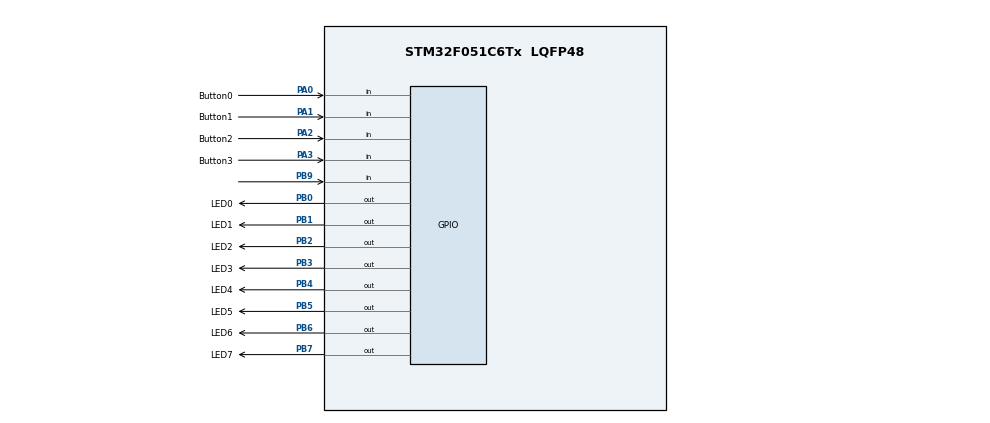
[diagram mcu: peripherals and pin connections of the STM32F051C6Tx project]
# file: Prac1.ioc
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Mcu.Family=STM32F0
Mcu.Name=STM32F051C6Tx
Mcu.Package=LQFP48
PA0.GPIO_Label=Button0
PA0.GPIO_PuPd=GPIO_PULLUP
PA0.Signal=GPIO_Input
PA1.GPIO_Label=Button1
PA1.GPIO_PuPd=GPIO_PULLUP
PA1.Signal=GPIO_Input
PA13.Mode=Serial_Wire
PA13.Signal=SYS_SWDIO
PA14.Mode=Serial_Wire
PA14.Signal=SYS_SWCLK
PA2.GPIO_Label=Button2
PA2.GPIO_PuPd=GPIO_PULLUP
PA2.Signal=GPIO_Input
PA3.GPIO_Label=Button3
PA3.GPIO_PuPd=GPIO_PULLUP
PA3.Signal=GPIO_Input
PB0.GPIO_Label=LED0
PB0.Signal=GPIO_Output
PB1.GPIO_Label=LED1
PB1.Signal=GPIO_Output
PB2.GPIO_Label=LED2
PB2.Signal=GPIO_Output
PB3.GPIO_Label=LED3
PB3.Signal=GPIO_Output
PB4.GPIO_Label=LED4
PB4.Signal=GPIO_Output
PB5.GPIO_Label=LED5
PB5.Signal=GPIO_Output
PB6.GPIO_Label=LED6
PB6.Signal=GPIO_Output
PB7.GPIO_Label=LED7
PB7.Signal=GPIO_Output
PB9.Signal=GPIO_Input
PF0-OSC_IN.Mode=HSE-External-Oscillator
PF0-OSC_IN.Signal=RCC_OSC_IN
PF1-OSC_OUT.Mode=HSE-External-Oscillator
PF1-OSC_OUT.Signal=RCC_OSC_OUT
ProjectManager.HeapSize=0x200
ProjectManager.StackSize=0x400
ProjectManager.TargetToolchain=STM32CubeIDE
TIM16.AutoReloadPreload=TIM_AUTORELOAD_PRELOAD_ENABLE
TIM16.Period=1000-1
TIM16.Prescaler=8000-1
VP_TIM16_VS_ClockSourceINT.Mode=Enable_Timer
board=custom

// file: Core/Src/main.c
/* USER CODE BEGIN Header */
/**
  ******************************************************************************
  * @file           : main.c
  * @brief          : Main program body
  * @authors		    : Chris Scheepers, Abdul-Mateen Kader
  ******************************************************************************
  * @attention
  *
  * Copyright (c) 2023 STMicroelectronics.
  * All rights reserved.
  *
  * This software is licensed under terms that can be found in the LICENSE file
  * in the root directory of this software component.
  * If no LICENSE file comes with this software, it is provided AS-IS.
  *
  ******************************************************************************
  */
/* USER CODE END Header */
#include "main.h"

/* USER CODE BEGIN Includes */
#include <stdint.h>
#include "stm32f0xx.h"
#include <stm32f051x8.h>
#include <lcd_stm32f0.c>
/* USER CODE END Includes */

TIM_HandleTypeDef htim16;

/* USER CODE BEGIN PV */
// TODO: Define input variables
#define SW0 GPIO_PIN_0
#define SW1 GPIO_PIN_1
#define SW2 GPIO_PIN_2
#define SW3 GPIO_PIN_3

// Define the LED patterns
uint8_t patterns[9] = {
    0xE9, // 11101001
    0xD2, // 11010010
    0xA4, // 10100100
    0x48, // 01001000
    0x90, // 10010000
    0x20, // 00100000
    0x40, // 01000000
    0x80, // 10000000
    0x00  // 00000000 (blank row)
};

// Global variables to keep track of the current pattern and delay
uint8_t currentPattern = 0;
char currentPatternChar[11] = "123456789";
uint32_t tdelay = 1000; // Default delay is 1 second

/* USER CODE END PV */

void SystemClock_Config(void);
static void MX_GPIO_Init(void);
static void MX_TIM16_Init(void);
/* USER CODE BEGIN PFP */
void TIM16_IRQHandler(void);
/* USER CODE END PFP */

int main(void)
{

  /* MCU Configuration--------------------------------------------------------*/

  /* Reset of all peripherals, Initializes the Flash interface and the Systick. */
  HAL_Init();

  /* Configure the system clock */
  SystemClock_Config();

  /* Initialize all configured peripherals */
  MX_GPIO_Init();
  MX_TIM16_Init();
  init_LCD();
  lcd_command(CLEAR);
  lcd_putstring("Delay is 1s");
  /* USER CODE BEGIN 2 */

  // TODO: Start timer TIM16
  HAL_TIM_Base_Start_IT(&htim16);
  /* USER CODE END 2 */

  /* Infinite loop */
  while (1)
  {

    /* USER CODE BEGIN 3 */

    // TODO: Check pushbuttons to change timer delay
    // Check push button states
    if (HAL_GPIO_ReadPin(GPIOA, SW0) == GPIO_PIN_RESET)
    {
      tdelay = 500; // 0.5 seconds
      lcd_command(CLEAR);
      lcd_putstring("Delay: 0.5s");
    }
    else if (HAL_GPIO_ReadPin(GPIOA, SW1) == GPIO_PIN_RESET)
    {
      tdelay = 2000; // 2 seconds
      lcd_command(CLEAR);
      lcd_putstring("Delay: 2s");
    }
    else if (HAL_GPIO_ReadPin(GPIOA, SW2) == GPIO_PIN_RESET)
    {
      tdelay = 1000; // 1 second
      lcd_command(CLEAR);
      lcd_putstring("Delay: 1s");
    }
    else if (HAL_GPIO_ReadPin(GPIOA, SW3) == GPIO_PIN_RESET)
    {
      currentPattern = 0; // Reset to pattern 1
    }
  }
}
/* USER CODE END 3 */

void SystemClock_Config(void)
{
  LL_FLASH_SetLatency(LL_FLASH_LATENCY_0);
  while (LL_FLASH_GetLatency() != LL_FLASH_LATENCY_0)
  {
  }
  LL_RCC_HSI_Enable();

  /* Wait till HSI is ready */
  while (LL_RCC_HSI_IsReady() != 1)
  {
  }
  LL_RCC_HSI_SetCalibTrimming(16);
  LL_RCC_SetAHBPrescaler(LL_RCC_SYSCLK_DIV_1);
  LL_RCC_SetAPB1Prescaler(LL_RCC_APB1_DIV_1);
  LL_RCC_SetSysClkSource(LL_RCC_SYS_CLKSOURCE_HSI);

  /* Wait till System clock is ready */
  while (LL_RCC_GetSysClkSource() != LL_RCC_SYS_CLKSOURCE_STATUS_HSI)
  {
  }
  LL_SetSystemCoreClock(8000000);

  /* Update the time base */
  if (HAL_InitTick(TICK_INT_PRIORITY) != HAL_OK)
  {
    Error_Handler();
  }
}

static void MX_TIM16_Init(void)
{

  htim16.Instance = TIM16;
  htim16.Init.Prescaler = 8000 - 1;
  htim16.Init.CounterMode = TIM_COUNTERMODE_UP;
  htim16.Init.Period = 1000 - 1;
  htim16.Init.ClockDivision = TIM_CLOCKDIVISION_DIV1;
  htim16.Init.RepetitionCounter = 0;
  htim16.Init.AutoReloadPreload = TIM_AUTORELOAD_PRELOAD_ENABLE;
  if (HAL_TIM_Base_Init(&htim16) != HAL_OK)
  {
    Error_Handler();
  }
  /* USER CODE BEGIN TIM16_Init 2 */
  NVIC_EnableIRQ(TIM16_IRQn);
  /* USER CODE END TIM16_Init 2 */
}

static void MX_GPIO_Init(void)
{
  LL_GPIO_InitTypeDef GPIO_InitStruct = {0};

  /* GPIO Ports Clock Enable */
  LL_AHB1_GRP1_EnableClock(LL_AHB1_GRP1_PERIPH_GPIOF);
  LL_AHB1_GRP1_EnableClock(LL_AHB1_GRP1_PERIPH_GPIOA);
  LL_AHB1_GRP1_EnableClock(LL_AHB1_GRP1_PERIPH_GPIOB);

  /**/
  LL_GPIO_ResetOutputPin(LED0_GPIO_Port, LED0_Pin);

  /**/
  LL_GPIO_ResetOutputPin(LED1_GPIO_Port, LED1_Pin);

  /**/
  LL_GPIO_ResetOutputPin(LED2_GPIO_Port, LED2_Pin);

  /**/
  LL_GPIO_ResetOutputPin(LED3_GPIO_Port, LED3_Pin);

  /**/
  LL_GPIO_ResetOutputPin(LED4_GPIO_Port, LED4_Pin);

  /**/
  LL_GPIO_ResetOutputPin(LED5_GPIO_Port, LED5_Pin);

  /**/
  LL_GPIO_ResetOutputPin(LED6_GPIO_Port, LED6_Pin);

  /**/
  LL_GPIO_ResetOutputPin(LED7_GPIO_Port, LED7_Pin);

  /**/
  GPIO_InitStruct.Pin = Button0_Pin;
  GPIO_InitStruct.Mode = LL_GPIO_MODE_INPUT;
  GPIO_InitStruct.Pull = LL_GPIO_PULL_UP;
  LL_GPIO_Init(Button0_GPIO_Port, &GPIO_InitStruct);

  /**/
  GPIO_InitStruct.Pin = Button1_Pin;
  GPIO_InitStruct.Mode = LL_GPIO_MODE_INPUT;
  GPIO_InitStruct.Pull = LL_GPIO_PULL_UP;
  LL_GPIO_Init(Button1_GPIO_Port, &GPIO_InitStruct);

  /**/
  GPIO_InitStruct.Pin = Button2_Pin;
  GPIO_InitStruct.Mode = LL_GPIO_MODE_INPUT;
  GPIO_InitStruct.Pull = LL_GPIO_PULL_UP;
  LL_GPIO_Init(Button2_GPIO_Port, &GPIO_InitStruct);

  /**/
  GPIO_InitStruct.Pin = Button3_Pin;
  GPIO_InitStruct.Mode = LL_GPIO_MODE_INPUT;
  GPIO_InitStruct.Pull = LL_GPIO_PULL_UP;
  LL_GPIO_Init(Button3_GPIO_Port, &GPIO_InitStruct);

  /**/
  GPIO_InitStruct.Pin = LED0_Pin;
  GPIO_InitStruct.Mode = LL_GPIO_MODE_OUTPUT;
  GPIO_InitStruct.Speed = LL_GPIO_SPEED_FREQ_LOW;
  GPIO_InitStruct.OutputType = LL_GPIO_OUTPUT_PUSHPULL;
  GPIO_InitStruct.Pull = LL_GPIO_PULL_NO;
  LL_GPIO_Init(LED0_GPIO_Port, &GPIO_InitStruct);

  /**/
  GPIO_InitStruct.Pin = LED1_Pin;
  GPIO_InitStruct.Mode = LL_GPIO_MODE_OUTPUT;
  GPIO_InitStruct.Speed = LL_GPIO_SPEED_FREQ_LOW;
  GPIO_InitStruct.OutputType = LL_GPIO_OUTPUT_PUSHPULL;
  GPIO_InitStruct.Pull = LL_GPIO_PULL_NO;
  LL_GPIO_Init(LED1_GPIO_Port, &GPIO_InitStruct);

  /**/
  GPIO_InitStruct.Pin = LED2_Pin;
  GPIO_InitStruct.Mode = LL_GPIO_MODE_OUTPUT;
  GPIO_InitStruct.Speed = LL_GPIO_SPEED_FREQ_LOW;
  GPIO_InitStruct.OutputType = LL_GPIO_OUTPUT_PUSHPULL;
  GPIO_InitStruct.Pull = LL_GPIO_PULL_NO;
  LL_GPIO_Init(LED2_GPIO_Port, &GPIO_InitStruct);

  /**/
  GPIO_InitStruct.Pin = LED3_Pin;
  GPIO_InitStruct.Mode = LL_GPIO_MODE_OUTPUT;
  GPIO_InitStruct.Speed = LL_GPIO_SPEED_FREQ_LOW;
  GPIO_InitStruct.OutputType = LL_GPIO_OUTPUT_PUSHPULL;
  GPIO_InitStruct.Pull = LL_GPIO_PULL_NO;
  LL_GPIO_Init(LED3_GPIO_Port, &GPIO_InitStruct);

  /**/
  GPIO_InitStruct.Pin = LED4_Pin;
  GPIO_InitStruct.Mode = LL_GPIO_MODE_OUTPUT;
  GPIO_InitStruct.Speed = LL_GPIO_SPEED_FREQ_LOW;
  GPIO_InitStruct.OutputType = LL_GPIO_OUTPUT_PUSHPULL;
  GPIO_InitStruct.Pull = LL_GPIO_PULL_NO;
  LL_GPIO_Init(LED4_GPIO_Port, &GPIO_InitStruct);

  /**/
  GPIO_InitStruct.Pin = LED5_Pin;
  GPIO_InitStruct.Mode = LL_GPIO_MODE_OUTPUT;
  GPIO_InitStruct.Speed = LL_GPIO_SPEED_FREQ_LOW;
  GPIO_InitStruct.OutputType = LL_GPIO_OUTPUT_PUSHPULL;
  GPIO_InitStruct.Pull = LL_GPIO_PULL_NO;
  LL_GPIO_Init(LED5_GPIO_Port, &GPIO_InitStruct);

  /**/
  GPIO_InitStruct.Pin = LED6_Pin;
  GPIO_InitStruct.Mode = LL_GPIO_MODE_OUTPUT;
  GPIO_InitStruct.Speed = LL_GPIO_SPEED_FREQ_LOW;
  GPIO_InitStruct.OutputType = LL_GPIO_OUTPUT_PUSHPULL;
  GPIO_InitStruct.Pull = LL_GPIO_PULL_NO;
  LL_GPIO_Init(LED6_GPIO_Port, &GPIO_InitStruct);

  /**/
  GPIO_InitStruct.Pin = LED7_Pin;
  GPIO_InitStruct.Mode = LL_GPIO_MODE_OUTPUT;
  GPIO_InitStruct.Speed = LL_GPIO_SPEED_FREQ_LOW;
  GPIO_InitStruct.OutputType = LL_GPIO_OUTPUT_PUSHPULL;
  GPIO_InitStruct.Pull = LL_GPIO_PULL_NO;
  LL_GPIO_Init(LED7_GPIO_Port, &GPIO_InitStruct);

  /**/
  GPIO_InitStruct.Pin = LL_GPIO_PIN_9;
  GPIO_InitStruct.Mode = LL_GPIO_MODE_INPUT;
  GPIO_InitStruct.Pull = LL_GPIO_PULL_NO;
  LL_GPIO_Init(GPIOB, &GPIO_InitStruct);

}

/* USER CODE BEGIN 4 */

// Timer rolled over
void TIM16_IRQHandler(void)
{
  // Acknowledge interrupt
  HAL_TIM_IRQHandler(&htim16);

  // TODO Change LED Pattern
  // Print Something
  HAL_GPIO_WritePin(GPIOB, GPIO_PIN_All, GPIO_PIN_RESET);           // Reset all LEDs
  HAL_GPIO_WritePin(GPIOB, patterns[currentPattern], GPIO_PIN_SET); // Set the current pattern

  // Create a buffer to hold the single character string
  // Create a buffer to hold the complete string
  char displayString[20]; // Adjust size as needed to hold the full string

  // Format the string with the current pattern number
  sprintf(displayString, "Pattern: %d", currentPattern + 1); // currentPattern is zero-based

  // Print on LCD screen
  lcd_command(LINE_TWO);
  lcd_putstring(displayString);

  // Move to the next pattern
  currentPattern = (currentPattern + 1) % 9;

  // Adjust the timer period
  __HAL_TIM_SET_AUTORELOAD(&htim16, tdelay);
}

/* USER CODE END 4 */

void Error_Handler(void)
{
  __disable_irq();
  while (1)
  {
  }
}
